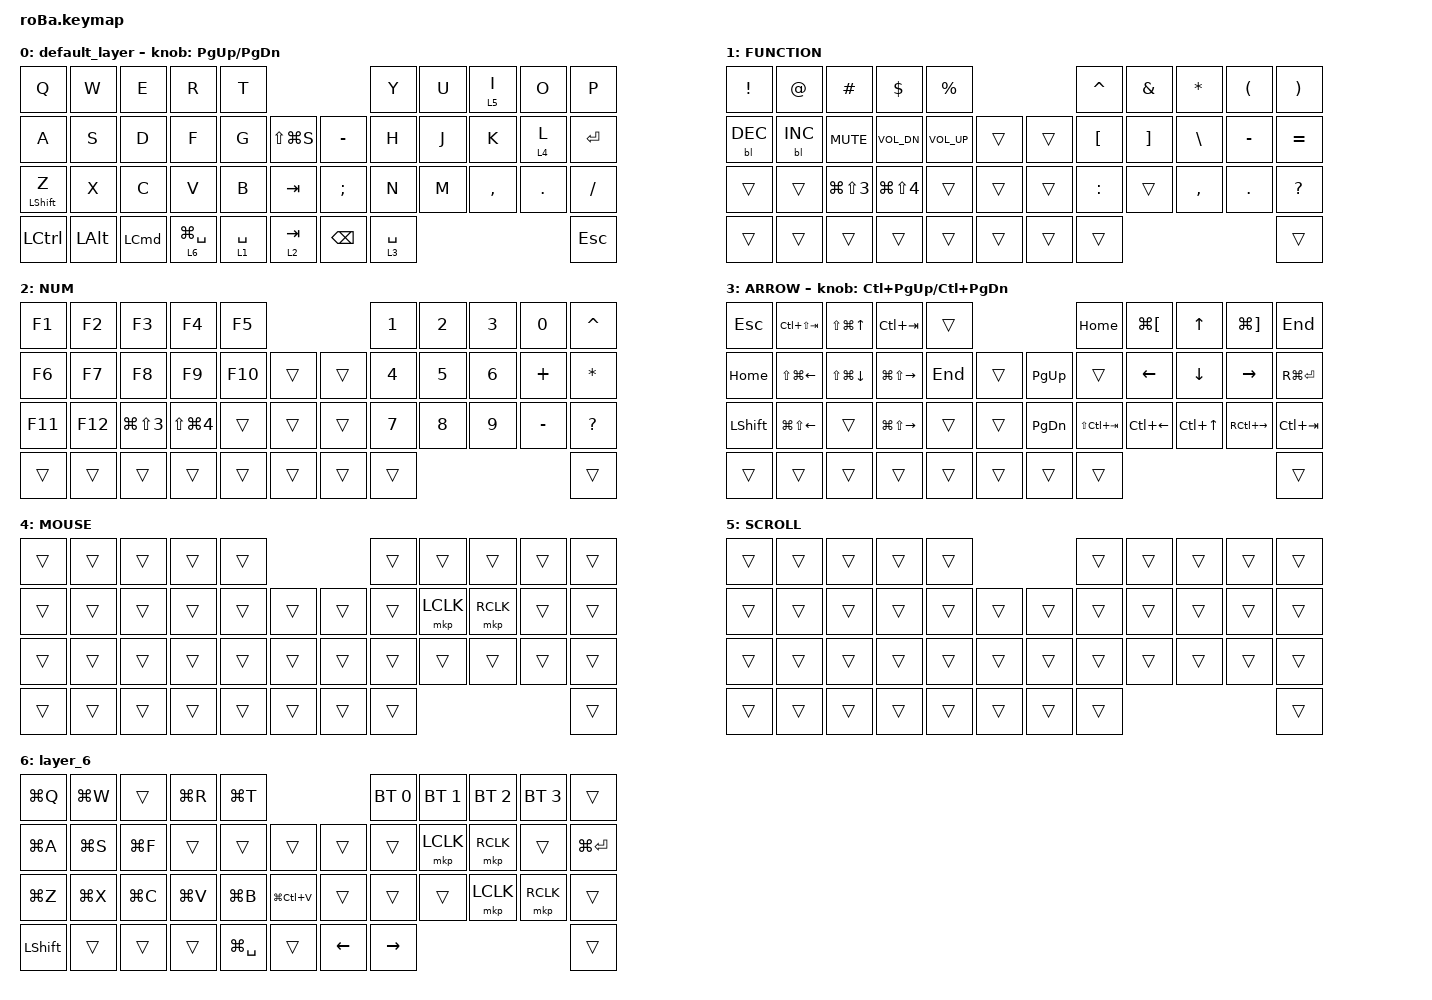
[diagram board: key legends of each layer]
#include <behaviors.dtsi>
#include <dt-bindings/zmk/backlight.h>
#include <dt-bindings/zmk/bt.h>
#include <dt-bindings/zmk/keys.h>
#include <dt-bindings/zmk/pointing.h>

&mt {
    flavor = "balanced";
    quick-tap-ms = <0>;
};

&trackball {
    automouse-layer = <4>;
    scroll-layers = <5>;

    // arrows {
    //     layers = <3>;
    //     bindings =
    //         <&kp RIGHT_ARROW>,
    //         <&kp LEFT_ARROW>,
    //         <&kp UP_ARROW>,
    //         <&kp DOWN_ARROW>;
    //     tick = <10>;
    //     wait-ms = <5>;
    //     tap-ms = <5>;
    // };
};

/ {
    combos {
        compatible = "zmk,combos";

        tab {
            bindings = <&kp TAB>;
            key-positions = <11 12>;
        };

        shift_tab {
            bindings = <&kp LS(TAB)>;
            key-positions = <12 13>;
        };

        muhennkann {
            bindings = <&to_layer_0 INT_MUHENKAN>;
            key-positions = <11 10>;
        };

        double_quotation {
            bindings = <&kp DOUBLE_QUOTES>;
            key-positions = <20 21>;
        };

        eq {
            bindings = <&kp EQUAL>;
            key-positions = <24 25>;
        };
    };

    macros {
        to_layer_0: to_layer_0 {
            compatible = "zmk,behavior-macro-one-param";
            #binding-cells = <1>;
            bindings = <&to 0 &macro_param_1to1 &kp MACRO_PLACEHOLDER>;
            label = "TO_LAYER_0";
        };
    };

    behaviors {
        lt_to_layer_0: lt_to_layer_0 {
            compatible = "zmk,behavior-hold-tap";
            label = "LAYER_TAP_TO_0";
            bindings = <&mo>, <&to_layer_0>;

            #binding-cells = <2>;
            tapping-term-ms = <200>;
        };
    };

    keymap {
        compatible = "zmk,keymap";

        default_layer {
            bindings = <
&kp Q             &kp W         &kp E             &kp R                       &kp T                                                 &kp Y        &kp U  &lt 5 I    &kp O       &kp P
&kp A             &kp S         &kp D             &kp F                       &kp G        &kp LS(LG(S))             &kp MINUS      &kp H        &kp J  &kp K      &lt 4 L     &kp ENTER
&mt LEFT_SHIFT Z  &kp X         &kp C             &kp V                       &kp B        &kp TAB                   &kp SEMICOLON  &kp N        &kp M  &kp COMMA  &kp PERIOD  &kp SLASH
&kp LCTRL         &kp LEFT_ALT  &kp LEFT_COMMAND  &lt_to_layer_0 6 LG(SPACE)  &lt 1 SPACE  &lt_to_layer_0 2 TAB      &kp BACKSPACE  &lt 3 SPACE                                &kp ESCAPE
            >;

            sensor-bindings = <&inc_dec_kp PG_UP PAGE_DOWN>;
        };

        FUNCTION {
            bindings = <
&kp EXCLAMATION  &kp AT_SIGN  &kp HASH              &kp DOLLAR            &kp PERCENT                       &kp CARET         &kp AMPERSAND      &kp ASTERISK   &kp LEFT_PARENTHESIS  &kp RIGHT_PARENTHESIS
&bl BL_DEC       &bl BL_INC   &kp K_MUTE            &kp C_VOL_DN          &kp C_VOL_UP  &trans      &trans  &kp LEFT_BRACKET  &kp RIGHT_BRACKET  &kp BACKSLASH  &kp MINUS             &kp EQUAL
&trans           &trans       &kp LG(LS(NUMBER_3))  &kp LG(LS(NUMBER_4))  &trans        &trans      &trans  &kp COLON         &trans             &kp COMMA      &kp DOT               &kp QUESTION
&trans           &trans       &trans                &trans                &trans        &trans      &trans  &trans                                                                    &trans
            >;
        };

        NUM {
            bindings = <
&kp F1   &kp F2   &kp F3                &kp F4                &kp F5                       &kp NUMBER_1  &kp NUMBER_2  &kp NUMBER_3  &kp NUMBER_0  &kp CARET
&kp F6   &kp F7   &kp F8                &kp F9                &kp F10  &trans      &trans  &kp NUMBER_4  &kp NUMBER_5  &kp NUMBER_6  &kp PLUS      &kp ASTERISK
&kp F11  &kp F12  &kp LG(LS(NUMBER_3))  &kp LS(LG(NUMBER_4))  &trans   &trans      &trans  &kp NUMBER_7  &kp NUMBER_8  &kp NUMBER_9  &kp MINUS     &kp QMARK
&trans   &trans   &trans                &trans                &trans   &trans      &trans  &trans                                                  &trans
            >;
        };

        ARROW {
            bindings = <
&kp ESCAPE      &kp LC(LS(TAB))         &kp LS(LG(UP_ARROW))    &kp LC(TAB)              &trans                              &kp HOME         &kp LG(LEFT_BRACKET)  &kp UP_ARROW      &kp LG(RIGHT_BRACKET)  &kp END
&kp HOME        &kp LS(LG(LEFT_ARROW))  &kp LS(LG(DOWN_ARROW))  &kp LG(LS(RIGHT_ARROW))  &kp END  &trans      &kp PAGE_UP    &trans           &kp LEFT              &kp DOWN_ARROW    &kp RIGHT_ARROW        &kp RG(ENTER)
&kp LEFT_SHIFT  &kp LG(LS(LEFT_ARROW))  &trans                  &kp LG(LS(RIGHT_ARROW))  &trans   &trans      &kp PAGE_DOWN  &kp LS(LC(TAB))  &kp LC(LEFT)          &kp LC(UP_ARROW)  &kp RC(RIGHT)          &kp LC(TAB)
&trans          &trans                  &trans                  &trans                   &trans   &trans      &trans         &trans                                                                          &trans
            >;

            sensor-bindings = <&inc_dec_kp LC(PAGE_UP) LC(PAGE_DOWN)>;
        };

        MOUSE {
            bindings = <
&trans  &trans  &trans  &trans  &trans                      &trans  &trans     &trans     &trans  &trans
&trans  &trans  &trans  &trans  &trans  &trans      &trans  &trans  &mkp LCLK  &mkp RCLK  &trans  &trans
&trans  &trans  &trans  &trans  &trans  &trans      &trans  &trans  &trans     &trans     &trans  &trans
&trans  &trans  &trans  &trans  &trans  &trans      &trans  &trans                                &trans
            >;
        };

        SCROLL {
            bindings = <
&trans  &trans  &trans  &trans  &trans                      &trans  &trans  &trans  &trans  &trans
&trans  &trans  &trans  &trans  &trans  &trans      &trans  &trans  &trans  &trans  &trans  &trans
&trans  &trans  &trans  &trans  &trans  &trans      &trans  &trans  &trans  &trans  &trans  &trans
&trans  &trans  &trans  &trans  &trans  &trans      &trans  &trans                          &trans
            >;
        };

        layer_6 {
            bindings = <
&kp LG(Q)       &kp LG(W)  &trans     &kp LG(R)  &kp LG(T)                                   &bt BT_SEL 0  &bt BT_SEL 1  &bt BT_SEL 2  &bt BT_SEL 3  &trans
&kp LG(A)       &kp LG(S)  &kp LG(F)  &trans     &trans         &trans             &trans    &trans        &mkp LCLK     &mkp RCLK     &trans        &kp LG(ENTER)
&kp LG(Z)       &kp LG(X)  &kp LG(C)  &kp LG(V)  &kp LG(B)      &kp LG(LC(V))      &trans    &trans        &trans        &mkp LCLK     &mkp RCLK     &trans
&kp LEFT_SHIFT  &trans     &trans     &trans     &kp LG(SPACE)  &trans             &kp LEFT  &kp RIGHT                                               &trans
            >;
        };
    };
};
